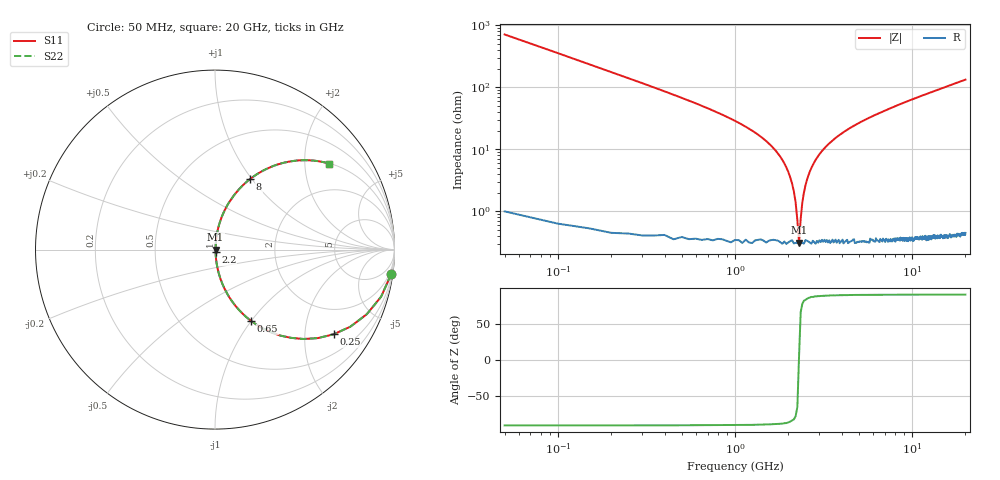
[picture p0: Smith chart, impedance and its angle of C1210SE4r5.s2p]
! AVX Thin Film Operation		Date: April 2012
! Description: Accu-P® Series, Thin Film, SMD, RF Capacitor
! Part Number: 12101J4R5ABTTR
!	50	MHz	-	20.05	GHz
!	Serial	Measurements
#	MHZ	S	MA	R	50
!	S11	S21	S12	S22
!	dB	Phase	dB	Phase	dB	Phase	dB	Phase
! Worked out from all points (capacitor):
!   400 points, 50 MHz to 20 GHz, reference 50 ohm
!   read as one part in series: C = 4.5 pF near 150 MHz
!   lowest |Z| = 313 mohm at 2.3 GHz (marker M1)
!   series resonance near 2.298 GHz, so ESL is about 1.1 nH
!   S11 on the Smith chart (normalised r, x): 50 MHz: 1, -14; 250 MHz: 1.01, -2.80; 650 MHz: 1.01, -1.00; 2.2 GHz: 1.01, -0.03; 8 GHz: 1.01, +0.98; 20 GHz: 1.01, +2.64
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50  0.99 -8.0  0.14 81.9  0.14 81.9  0.99 -8.0
100  0.962 -15.8  0.272 74.1  0.272 74.1  0.962 -15.8
150  0.919 -23.1  0.392 66.8  0.392 66.8  0.919 -23.1
250  0.812 -35.5  0.581 54.3  0.581 54.3  0.812 -35.5
450  0.602 -52.7  0.796 37.0  0.796 37.0  0.602 -52.7
650  0.446 -63.1  0.892 26.5  0.892 26.5  0.446 -63.1
1100  0.24 -75.4  0.968 13.9  0.968 13.9  0.24 -75.4
1800  0.076 -83.2  0.994 4.3  0.994 4.3  0.076 -83.2
2050  0.035 -82.8  0.996 2.0  0.996 2.0  0.035 -82.8
2200  0.014 -75.7  0.997 0.8  0.997 0.8  0.014 -75.7
2300  0.003219 5.1  0.997 -0.0  0.997 -0.0  0.003219 5.1
2400  0.014 75.7  0.997 -0.8  0.997 -0.8  0.014 75.7
2600  0.038 83.0  0.996 -2.2  0.996 -2.2  0.038 83.0
2850  0.067 83.4  0.995 -3.8  0.995 -3.8  0.067 83.4
3400  0.122 81.5  0.989 -7.0  0.989 -7.0  0.122 81.5
4600  0.225 76.2  0.971 -13.0  0.971 -13.0  0.225 76.2
6700  0.367 68.0  0.927 -21.5  0.927 -21.5  0.367 68.0
8000  0.44 63.5  0.895 -26.1  0.895 -26.1  0.44 63.5
10050  0.536 57.2  0.841 -32.4  0.841 -32.4  0.536 57.2
13350  0.654 48.9  0.754 -40.8  0.754 -40.8  0.654 48.9
16700  0.738 42.2  0.672 -47.5  0.672 -47.5  0.738 42.2
20000  0.796 37.0  0.602 -52.8  0.602 -52.8  0.796 37.0
